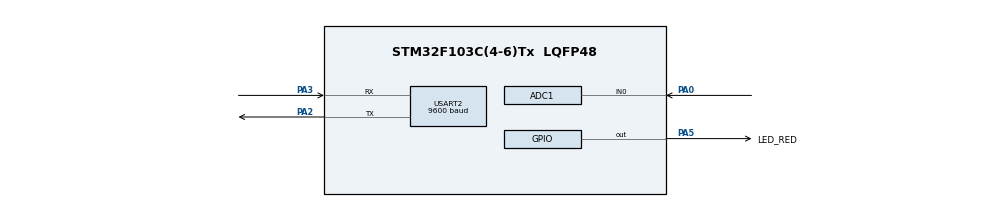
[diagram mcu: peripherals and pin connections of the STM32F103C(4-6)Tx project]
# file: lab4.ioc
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ADC1.Channel-0\#ChannelRegularConversion=ADC_CHANNEL_0
ADC1.ContinuousConvMode=ENABLE
ADC1.NbrOfConversionFlag=1
ADC1.Rank-0\#ChannelRegularConversion=1
ADC1.SamplingTime-0\#ChannelRegularConversion=ADC_SAMPLETIME_1CYCLE_5
ADC1.master=1
Mcu.Family=STM32F1
Mcu.Name=STM32F103C(4-6)Tx
Mcu.Package=LQFP48
NVIC.PriorityGroup=NVIC_PRIORITYGROUP_4
NVIC.TIM2_IRQn=true\:0\:0\:false\:false\:true\:true\:true
NVIC.USART2_IRQn=true\:0\:0\:false\:false\:true\:true\:true
PA0-WKUP.Signal=ADCx_IN0
PA2.Mode=Asynchronous
PA2.Signal=USART2_TX
PA3.Mode=Asynchronous
PA3.Signal=USART2_RX
PA5.GPIO_Label=LED_RED
PA5.Signal=GPIO_Output
ProjectManager.HeapSize=0x200
ProjectManager.StackSize=0x400
ProjectManager.TargetToolchain=STM32CubeIDE
RCC.APB1Freq_Value=8000000
RCC.APB2Freq_Value=8000000
SH.ADCx_IN0.0=ADC1_IN0,IN0
TIM2.Period=9
TIM2.Prescaler=7999
USART2.BaudRate=9600
USART2.VirtualMode=VM_ASYNC
VP_SYS_VS_ND.Mode=No_Debug
VP_TIM2_VS_ClockSourceINT.Mode=Internal
board=custom

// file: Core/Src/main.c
/* USER CODE BEGIN Header */
/**
  ******************************************************************************
  * @file           : main.c
  * @brief          : Main program body
  ******************************************************************************
  * @attention
  *
  * <h2><center>&copy; Copyright (c) 2023 STMicroelectronics.
  * All rights reserved.</center></h2>
  *
  * This software component is licensed by ST under BSD 3-Clause license,
  * the "License"; You may not use this file except in compliance with the
  * License. You may obtain a copy of the License at:
  *                        opensource.org/licenses/BSD-3-Clause
  *
  ******************************************************************************
  */
/* USER CODE END Header */
#include "main.h"

/* USER CODE BEGIN Includes */
#include "global.h"
/* USER CODE END Includes */

/* USER CODE BEGIN PTD */
void HAL_TIM_PeriodElapsedCallback (TIM_HandleTypeDef *htim2 )
{
 timerRun();
}

/* USER CODE END PTD */

ADC_HandleTypeDef hadc1;

TIM_HandleTypeDef htim2;

UART_HandleTypeDef huart2;

void SystemClock_Config(void);
static void MX_GPIO_Init(void);
static void MX_ADC1_Init(void);
static void MX_USART2_UART_Init(void);
static void MX_TIM2_Init(void);

/* USER CODE BEGIN 0 */

#define MAX_BUFFER_SIZE 30
uint8_t buffer[MAX_BUFFER_SIZE];
uint8_t temp = 0;
uint8_t buffer_flag = 0;
uint8_t index_buffer = 0;
/* USER CODE END 0 */

int main(void)
{

  /* MCU Configuration--------------------------------------------------------*/

  /* Reset of all peripherals, Initializes the Flash interface and the Systick. */
  HAL_Init();

  /* Configure the system clock */
  SystemClock_Config();

  /* Initialize all configured peripherals */
  MX_GPIO_Init();
  MX_ADC1_Init();
  MX_USART2_UART_Init();
  MX_TIM2_Init();
  /* USER CODE BEGIN 2 */
  HAL_TIM_Base_Start_IT(&htim2);
  HAL_UART_Receive_IT (& huart2 , & temp , 1) ;
  /* USER CODE END 2 */
HAL_ADC_Start(&hadc1);
  /* Infinite loop */
  /* USER CODE BEGIN WHILE */
sst_c = wait;
sst_commun = NON;
  while (1)
  {
    /* USER CODE END WHILE */
	  if( buffer_flag == 1) {
	   command_parser_fsm () ;
	  buffer_flag = 0;
	   }
	   uart_communiation_fsm () ;

  }
}

void SystemClock_Config(void)
{
  RCC_OscInitTypeDef RCC_OscInitStruct = {0};
  RCC_ClkInitTypeDef RCC_ClkInitStruct = {0};
  RCC_PeriphCLKInitTypeDef PeriphClkInit = {0};

  /** Initializes the RCC Oscillators according to the specified parameters
  * in the RCC_OscInitTypeDef structure.
  */
  RCC_OscInitStruct.OscillatorType = RCC_OSCILLATORTYPE_HSI;
  RCC_OscInitStruct.HSIState = RCC_HSI_ON;
  RCC_OscInitStruct.HSICalibrationValue = RCC_HSICALIBRATION_DEFAULT;
  RCC_OscInitStruct.PLL.PLLState = RCC_PLL_NONE;
  if (HAL_RCC_OscConfig(&RCC_OscInitStruct) != HAL_OK)
  {
    Error_Handler();
  }
  /** Initializes the CPU, AHB and APB buses clocks
  */
  RCC_ClkInitStruct.ClockType = RCC_CLOCKTYPE_HCLK|RCC_CLOCKTYPE_SYSCLK
                              |RCC_CLOCKTYPE_PCLK1|RCC_CLOCKTYPE_PCLK2;
  RCC_ClkInitStruct.SYSCLKSource = RCC_SYSCLKSOURCE_HSI;
  RCC_ClkInitStruct.AHBCLKDivider = RCC_SYSCLK_DIV1;
  RCC_ClkInitStruct.APB1CLKDivider = RCC_HCLK_DIV1;
  RCC_ClkInitStruct.APB2CLKDivider = RCC_HCLK_DIV1;

  if (HAL_RCC_ClockConfig(&RCC_ClkInitStruct, FLASH_LATENCY_0) != HAL_OK)
  {
    Error_Handler();
  }
  PeriphClkInit.PeriphClockSelection = RCC_PERIPHCLK_ADC;
  PeriphClkInit.AdcClockSelection = RCC_ADCPCLK2_DIV2;
  if (HAL_RCCEx_PeriphCLKConfig(&PeriphClkInit) != HAL_OK)
  {
    Error_Handler();
  }
}

static void MX_ADC1_Init(void)
{

  ADC_ChannelConfTypeDef sConfig = {0};

  /** Common config
  */
  hadc1.Instance = ADC1;
  hadc1.Init.ScanConvMode = ADC_SCAN_DISABLE;
  hadc1.Init.ContinuousConvMode = ENABLE;
  hadc1.Init.DiscontinuousConvMode = DISABLE;
  hadc1.Init.ExternalTrigConv = ADC_SOFTWARE_START;
  hadc1.Init.DataAlign = ADC_DATAALIGN_RIGHT;
  hadc1.Init.NbrOfConversion = 1;
  if (HAL_ADC_Init(&hadc1) != HAL_OK)
  {
    Error_Handler();
  }
  /** Configure Regular Channel
  */
  sConfig.Channel = ADC_CHANNEL_0;
  sConfig.Rank = ADC_REGULAR_RANK_1;
  sConfig.SamplingTime = ADC_SAMPLETIME_1CYCLE_5;
  if (HAL_ADC_ConfigChannel(&hadc1, &sConfig) != HAL_OK)
  {
    Error_Handler();
  }

}

static void MX_TIM2_Init(void)
{

  TIM_ClockConfigTypeDef sClockSourceConfig = {0};
  TIM_MasterConfigTypeDef sMasterConfig = {0};

  htim2.Instance = TIM2;
  htim2.Init.Prescaler = 7999;
  htim2.Init.CounterMode = TIM_COUNTERMODE_UP;
  htim2.Init.Period = 9;
  htim2.Init.ClockDivision = TIM_CLOCKDIVISION_DIV1;
  htim2.Init.AutoReloadPreload = TIM_AUTORELOAD_PRELOAD_DISABLE;
  if (HAL_TIM_Base_Init(&htim2) != HAL_OK)
  {
    Error_Handler();
  }
  sClockSourceConfig.ClockSource = TIM_CLOCKSOURCE_INTERNAL;
  if (HAL_TIM_ConfigClockSource(&htim2, &sClockSourceConfig) != HAL_OK)
  {
    Error_Handler();
  }
  sMasterConfig.MasterOutputTrigger = TIM_TRGO_RESET;
  sMasterConfig.MasterSlaveMode = TIM_MASTERSLAVEMODE_DISABLE;
  if (HAL_TIMEx_MasterConfigSynchronization(&htim2, &sMasterConfig) != HAL_OK)
  {
    Error_Handler();
  }

}

static void MX_USART2_UART_Init(void)
{

  huart2.Instance = USART2;
  huart2.Init.BaudRate = 9600;
  huart2.Init.WordLength = UART_WORDLENGTH_8B;
  huart2.Init.StopBits = UART_STOPBITS_1;
  huart2.Init.Parity = UART_PARITY_NONE;
  huart2.Init.Mode = UART_MODE_TX_RX;
  huart2.Init.HwFlowCtl = UART_HWCONTROL_NONE;
  huart2.Init.OverSampling = UART_OVERSAMPLING_16;
  if (HAL_UART_Init(&huart2) != HAL_OK)
  {
    Error_Handler();
  }

}

static void MX_GPIO_Init(void)
{
  GPIO_InitTypeDef GPIO_InitStruct = {0};

  /* GPIO Ports Clock Enable */
  __HAL_RCC_GPIOA_CLK_ENABLE();

  /*Configure GPIO pin Output Level */
  HAL_GPIO_WritePin(LED_RED_GPIO_Port, LED_RED_Pin, GPIO_PIN_RESET);

  /*Configure GPIO pin : LED_RED_Pin */
  GPIO_InitStruct.Pin = LED_RED_Pin;
  GPIO_InitStruct.Mode = GPIO_MODE_OUTPUT_PP;
  GPIO_InitStruct.Pull = GPIO_NOPULL;
  GPIO_InitStruct.Speed = GPIO_SPEED_FREQ_LOW;
  HAL_GPIO_Init(LED_RED_GPIO_Port, &GPIO_InitStruct);

}

/* USER CODE BEGIN 4 */
/////////////////////////////////////////////////////////////////////////////////////
void HAL_UART_RxCpltCallback(UART_HandleTypeDef *huart){
	if(huart -> Instance == USART2){
		buffer[index_buffer++] = temp;
		if(index_buffer == 30)index_buffer = 0;
		buffer_flag = 1;
		UART_Start_Receive_IT(&huart2, &temp, 1);
	}
}

/* USER CODE END 4 */

void Error_Handler(void)
{
  __disable_irq();
  while (1)
  {
  }
}

/************************ (C) COPYRIGHT STMicroelectronics *****END OF FILE****/
